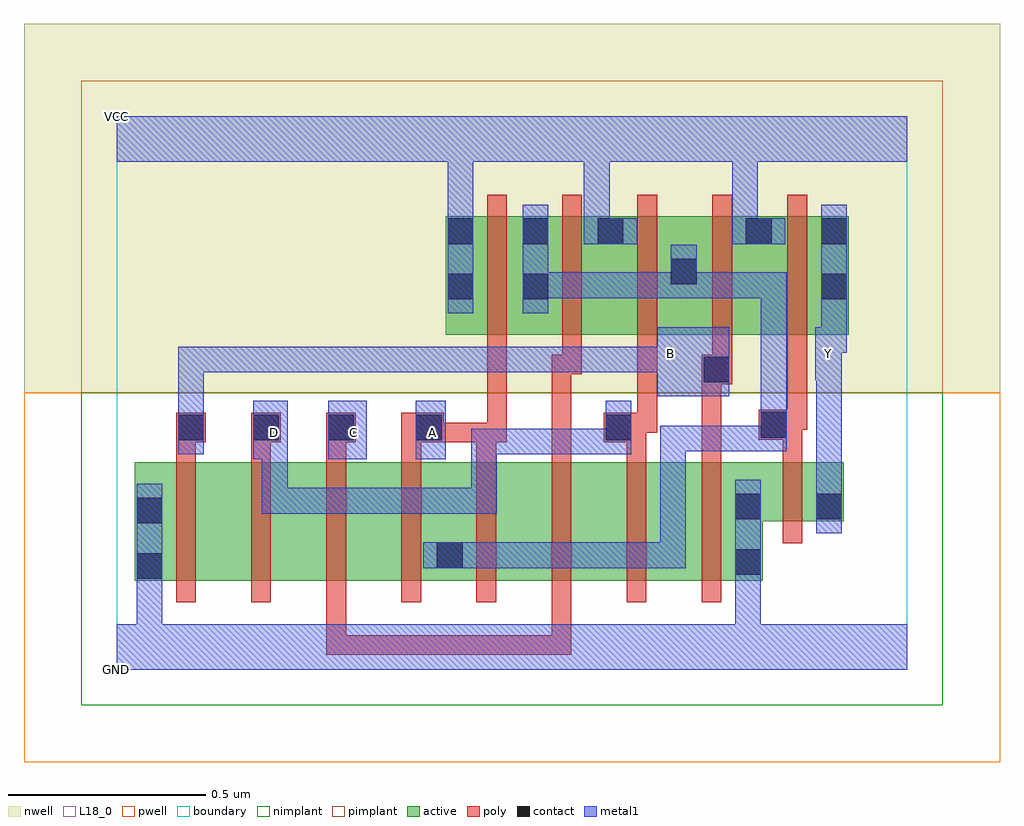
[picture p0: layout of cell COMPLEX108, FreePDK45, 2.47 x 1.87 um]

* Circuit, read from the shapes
.subckt COMPLEX108 A B C D GND VCC Y
M1 n1 B GND VSUBS nfet w=0.3u l=0.05u
M2 n2 D n1 VSUBS nfet w=0.3u l=0.05u
M3 n3 C n2 VSUBS nfet w=0.3u l=0.05u
M4 n4 A n3 VSUBS nfet w=0.3u l=0.05u
M5 n5 A n4 VSUBS nfet w=0.3u l=0.05u
M6 n6 C n5 VSUBS nfet w=0.3u l=0.05u
M7 n7 D n6 VSUBS nfet w=0.3u l=0.05u
M8 GND B n7 VSUBS nfet w=0.3u l=0.05u
M9 Y n4 GND VSUBS nfet w=0.15u l=0.05u
M10 n4 A VCC n8 pfet w=0.3u l=0.05u
M11 VCC C n4 n8 pfet w=0.3u l=0.05u
M12 n4 D VCC n8 pfet w=0.3u l=0.05u
M13 VCC B n4 n8 pfet w=0.3u l=0.05u
M14 Y n4 VCC n8 pfet w=0.3u l=0.05u
.ends

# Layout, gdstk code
import gdstk
lib = gdstk.Library(unit=1e-6, precision=1e-09)
def R(c, l, rs):  # rectangles x0, y0, x1, y1
    for r in rs: c.add(gdstk.rectangle(r[:2], r[2:], *l))
def A(c, l, x, y, w, h, nx, ny, dx, dy):  # array of equal rectangles
    R(c, l, [(x+i*dx, y+j*dy, x+i*dx+w, y+j*dy+h) for i in range(nx) for j in range(ny)])
active = (1, 0)
pwell = (2, 0)
nwell = (3, 0)
nimplant = (4, 0)
pimplant = (5, 0)
poly = (9, 0)
contact = (10, 0)
metal1 = (11, 0)
L18_0 = (18, 0)
boundary = (235, 0)

complex108 = lib.new_cell('COMPLEX108')
R(complex108, active, [(0.045,0.225,0.12,0.525), (0.045,0.225,0.27,0.525), (0.27,0.225,0.46,0.525), (0.46,0.225,0.65,0.525), (0.65,0.225,0.88,0.525), (0.805,0.225,0.88,0.525), (0.805,0.225,1.03,0.525), (1.03,0.225,1.22,0.525), (1.22,0.225,1.41,0.525), (1.41,0.225,1.635,0.525), (1.56,0.225,1.635,0.525), (1.56,0.375,1.84,0.525), (1.765,0.375,1.84,0.525), (0.832,0.847,0.907,1.147), (0.832,0.847,1.097,1.147), (1.022,0.847,1.097,1.147), (1.022,0.847,1.287,1.147), (1.212,0.847,1.472,1.147), (1.397,0.847,1.472,1.147), (1.397,0.847,1.662,1.147), (1.587,0.847,1.852,1.147), (1.777,0.847,1.852,1.147), (1.587,0.857,1.662,1.147), (1.212,0.912,1.287,1.147)])
R(complex108, pwell, [(-0.235,-0.235,2.235,0.7)])
R(complex108, nwell, [(-0.235,0.7,2.235,1.635)])
R(complex108, nimplant, [(-0.09,-0.09,2.09,0.7)])
R(complex108, pimplant, [(-0.09,0.7,2.09,1.49)])
A(complex108, poly, 0.15, 0.17, 0.05, 0.41, 8, 1, 0.19, 0)
A(complex108, poly, 0.15, 0.53, 0.05, 0.095, 5, 1, 0.19, 0)
A(complex108, poly, 0.15, 0.575, 0.075, 0.075, 3, 1, 0.19, 0)
A(complex108, poly, 0.937, 0.792, 0.05, 0.41, 5, 1, 0.19, 0)
R(complex108, poly, [(0.53,0.037,0.58,0.087), (0.53,0.037,0.58,0.087), (0.53,0.037,0.58,0.087), (0.53,0.037,0.58,0.22), (0.53,0.037,0.827,0.087), (0.777,0.037,0.827,0.087), (0.777,0.037,0.827,0.087), (0.777,0.037,0.827,0.087), (0.777,0.037,0.96,0.087), (0.91,0.037,0.96,0.087), (0.91,0.037,1.15,0.087), (1.1,0.037,1.15,0.087), (1.1,0.037,1.15,0.087), (1.1,0.037,1.15,0.087), (1.1,0.037,1.15,0.22), (1.685,0.32,1.735,0.58), (1.1,0.53,1.15,0.797), (1.29,0.53,1.34,0.625), (1.48,0.53,1.53,0.772), (1.685,0.53,1.735,0.632), (0.15,0.575,0.2,0.625), (0.15,0.575,0.2,0.625), (0.72,0.575,0.827,0.65), (0.777,0.575,0.96,0.625), (0.91,0.575,0.96,0.625), (0.91,0.575,0.96,0.625), (0.91,0.575,0.96,0.625), (0.91,0.575,0.96,0.625), (0.91,0.575,0.987,0.625), (0.937,0.575,0.987,0.842), (1.232,0.575,1.34,0.65), (1.625,0.582,1.735,0.657), (1.29,0.6,1.34,0.65), (1.29,0.6,1.367,0.65), (1.317,0.6,1.367,0.842), (1.685,0.607,1.735,0.657), (1.685,0.607,1.747,0.657), (1.697,0.607,1.747,0.842), (1.48,0.722,1.53,0.772), (1.48,0.722,1.53,0.772), (1.48,0.722,1.557,0.797), (1.1,0.747,1.15,0.797), (1.1,0.747,1.15,0.797), (1.1,0.747,1.177,0.797), (1.127,0.747,1.177,0.842), (1.507,0.747,1.557,0.842)])
A(complex108, contact, 0.155, 0.58, 0.065, 0.065, 3, 1, 0.19, 0)
A(complex108, contact, 0.837, 1.077, 0.065, 0.065, 3, 1, 0.19, 0)
R(complex108, contact, [(0.05,0.23,0.115,0.295), (1.565,0.24,1.63,0.305), (0.81,0.257,0.875,0.322), (0.05,0.37,0.115,0.435), (1.565,0.38,1.63,0.445), (1.77,0.38,1.835,0.445), (0.757,0.58,0.822,0.645), (1.237,0.58,1.302,0.645), (1.63,0.587,1.695,0.652), (1.485,0.727,1.55,0.792), (0.837,0.937,0.902,1.002), (1.027,0.937,1.092,1.002), (1.782,0.937,1.847,1.002), (1.402,0.975,1.467,1.04), (1.592,1.077,1.657,1.142), (1.782,1.077,1.847,1.142)])
R(complex108, metal1, [(0,0,2,0.115), (0.05,0.05,0.115,0.115), (0.05,0.05,0.115,0.115), (0.05,0.05,0.115,0.26), (1.565,0.05,1.63,0.115), (1.565,0.05,1.63,0.115), (1.565,0.05,1.63,0.27), (0.05,0.195,0.115,0.47), (1.565,0.205,1.63,0.48), (0.775,0.257,0.91,0.322), (0.845,0.257,0.972,0.322), (0.907,0.257,0.972,0.322), (0.907,0.257,1.11,0.322), (1.045,0.257,1.11,0.322), (1.045,0.257,1.11,0.322), (1.045,0.257,1.11,0.322), (1.045,0.257,1.11,0.322), (1.045,0.257,1.11,0.322), (1.045,0.257,1.295,0.322), (1.23,0.257,1.295,0.322), (1.23,0.257,1.295,0.322), (1.23,0.257,1.295,0.322), (1.23,0.257,1.44,0.322), (1.375,0.257,1.44,0.322), (1.375,0.257,1.44,0.617), (1.77,0.345,1.835,0.48), (0.367,0.395,0.432,0.46), (0.367,0.395,0.632,0.46), (0.367,0.395,0.432,0.597), (0.567,0.395,0.632,0.46), (0.567,0.395,0.632,0.46), (0.567,0.395,0.632,0.46), (0.567,0.395,0.77,0.46), (0.705,0.395,0.77,0.46), (0.705,0.395,0.962,0.46), (0.897,0.395,0.962,0.46), (0.897,0.395,0.962,0.61), (1.77,0.415,1.835,0.797), (0.345,0.532,0.432,0.68), (0.367,0.532,0.432,0.597), (0.367,0.532,0.432,0.597), (0.535,0.532,0.632,0.68), (0.757,0.532,0.832,0.68), (0.155,0.545,0.22,0.68), (0.897,0.545,0.962,0.61), (0.897,0.545,0.972,0.61), (0.907,0.545,0.972,0.61), (0.907,0.545,1.11,0.61), (1.045,0.545,1.11,0.61), (1.045,0.545,1.11,0.61), (1.045,0.545,1.11,0.61), (1.045,0.545,1.295,0.61), (1.23,0.545,1.295,0.61), (1.23,0.545,1.302,0.61), (1.237,0.545,1.302,0.68), (1.375,0.552,1.44,0.617), (1.375,0.552,1.44,0.617), (1.375,0.552,1.44,0.617), (1.375,0.552,1.695,0.617), (1.63,0.552,1.695,0.617), (1.63,0.552,1.695,0.617), (1.63,0.552,1.695,0.687), (1.63,0.552,1.695,1.005), (0.155,0.615,0.22,0.68), (0.155,0.615,0.22,0.817), (1.367,0.692,1.55,0.867), (1.767,0.732,1.835,0.867), (0.155,0.752,0.357,0.817), (0.292,0.752,0.357,0.817), (0.292,0.752,0.357,0.817), (0.292,0.752,0.357,0.817), (0.292,0.752,0.57,0.817), (0.505,0.752,0.57,0.817), (0.505,0.752,0.57,0.817), (0.505,0.752,0.57,0.817), (0.505,0.752,0.77,0.817), (0.705,0.752,0.77,0.817), (0.705,0.752,0.77,0.817), (0.705,0.752,0.77,0.817), (0.705,0.752,0.972,0.817), (0.907,0.752,0.972,0.817), (0.907,0.752,1.11,0.817), (1.045,0.752,1.11,0.817), (1.045,0.752,1.11,0.817), (1.045,0.752,1.11,0.817), (1.045,0.752,1.295,0.817), (1.23,0.752,1.295,0.817), (1.23,0.752,1.295,0.817), (1.23,0.752,1.295,0.817), (1.23,0.752,1.432,0.817), (1.367,0.752,1.432,0.817), (1.367,0.752,1.432,0.817), (1.77,0.802,1.835,0.867), (1.77,0.802,1.847,0.867), (1.782,0.802,1.847,0.967), (0.837,0.902,0.902,1.177), (1.027,0.902,1.092,1.177), (1.782,0.902,1.847,1.177), (1.027,0.94,1.11,1.005), (1.045,0.94,1.11,1.005), (1.045,0.94,1.295,1.005), (1.23,0.94,1.295,1.005), (1.23,0.94,1.295,1.005), (1.23,0.94,1.295,1.005), (1.23,0.94,1.467,1.005), (1.402,0.94,1.467,1.005), (1.402,0.94,1.467,1.005), (1.402,0.94,1.467,1.075), (1.402,0.94,1.695,1.005), (1.63,0.94,1.695,1.005), (1.63,0.94,1.695,1.005), (1.63,0.94,1.695,1.005), (1.182,1.077,1.247,1.142), (1.182,1.077,1.247,1.142), (1.182,1.077,1.247,1.35), (1.182,1.077,1.317,1.142), (1.557,1.077,1.622,1.142), (1.557,1.077,1.622,1.142), (1.557,1.077,1.622,1.35), (1.557,1.077,1.692,1.142), (0.837,1.112,0.902,1.177), (0.837,1.112,0.902,1.177), (0.837,1.112,0.902,1.35), (0,1.285,2,1.4)])
A(complex108, L18_0, 0.367, 0.567, 0.065, 0.065, 3, 1, 0.2, 0)
R(complex108, L18_0, [(0,0,2,0.115), (0.05,0.05,0.115,0.115), (0.05,0.05,0.115,0.115), (0.05,0.05,0.115,0.26), (1.565,0.05,1.63,0.115), (1.565,0.05,1.63,0.115), (1.565,0.05,1.63,0.27), (0.05,0.195,0.115,0.47), (1.565,0.205,1.63,0.48), (1.77,0.345,1.835,0.48), (0.367,0.395,0.432,0.46), (0.367,0.395,0.432,0.597), (0.367,0.395,0.632,0.46), (0.567,0.395,0.632,0.46), (0.567,0.395,0.632,0.46), (0.567,0.395,0.632,0.46), (0.567,0.395,0.77,0.46), (0.705,0.395,0.77,0.46), (0.705,0.395,0.962,0.46), (0.897,0.395,0.962,0.46), (0.897,0.395,0.962,0.61), (1.77,0.415,1.835,0.797), (0.345,0.532,0.432,0.68), (0.367,0.532,0.432,0.597), (0.367,0.532,0.432,0.597), (0.535,0.532,0.632,0.68), (0.757,0.532,0.832,0.68), (0.155,0.545,0.22,0.68), (0.897,0.545,0.962,0.61), (0.897,0.545,0.972,0.61), (0.907,0.545,0.972,0.61), (0.907,0.545,1.11,0.61), (1.045,0.545,1.11,0.61), (1.045,0.545,1.11,0.61), (1.045,0.545,1.11,0.61), (1.045,0.545,1.295,0.61), (1.23,0.545,1.295,0.61), (1.23,0.545,1.302,0.61), (1.237,0.545,1.302,0.68), (0.155,0.615,0.22,0.68), (0.155,0.615,0.22,0.817), (1.367,0.692,1.55,0.867), (1.767,0.732,1.835,0.867), (0.155,0.752,0.357,0.817), (0.292,0.752,0.357,0.817), (0.292,0.752,0.357,0.817), (0.292,0.752,0.357,0.817), (0.292,0.752,0.57,0.817), (0.505,0.752,0.57,0.817), (0.505,0.752,0.57,0.817), (0.505,0.752,0.57,0.817), (0.505,0.752,0.77,0.817), (0.705,0.752,0.77,0.817), (0.705,0.752,0.77,0.817), (0.705,0.752,0.77,0.817), (0.705,0.752,0.972,0.817), (0.907,0.752,0.972,0.817), (0.907,0.752,1.11,0.817), (1.045,0.752,1.11,0.817), (1.045,0.752,1.11,0.817), (1.045,0.752,1.11,0.817), (1.045,0.752,1.295,0.817), (1.23,0.752,1.295,0.817), (1.23,0.752,1.295,0.817), (1.23,0.752,1.295,0.817), (1.23,0.752,1.432,0.817), (1.367,0.752,1.432,0.817), (1.367,0.752,1.432,0.817), (1.367,0.767,1.432,0.832), (1.767,0.767,1.832,0.832), (1.77,0.802,1.835,0.867), (1.77,0.802,1.847,0.867), (1.782,0.802,1.847,0.967), (0.837,0.902,0.902,1.177), (1.782,0.902,1.847,1.177), (1.182,1.077,1.247,1.142), (1.182,1.077,1.247,1.142), (1.182,1.077,1.317,1.142), (1.182,1.077,1.247,1.35), (1.557,1.077,1.622,1.142), (1.557,1.077,1.622,1.142), (1.557,1.077,1.692,1.142), (1.557,1.077,1.622,1.35), (0.837,1.112,0.902,1.177), (0.837,1.112,0.902,1.177), (0.837,1.112,0.902,1.35), (0,1.285,2,1.4)])
R(complex108, boundary, [(0,0,2,1.4)])
complex108.add(gdstk.Label('A', (0.8,0.6), layer=11, texttype=0))
complex108.add(gdstk.Label('B', (1.4,0.8), layer=11, texttype=0))
complex108.add(gdstk.Label('C', (0.6,0.6), layer=11, texttype=0))
complex108.add(gdstk.Label('D', (0.4,0.6), layer=11, texttype=0))
complex108.add(gdstk.Label('Y', (1.8,0.8), layer=11, texttype=0))
complex108.add(gdstk.Label('VCC', (0,1.4), layer=11, texttype=0))
complex108.add(gdstk.Label('GND', (0,0), layer=11, texttype=0))

lib.write_gds('COMPLEX108.gds')
